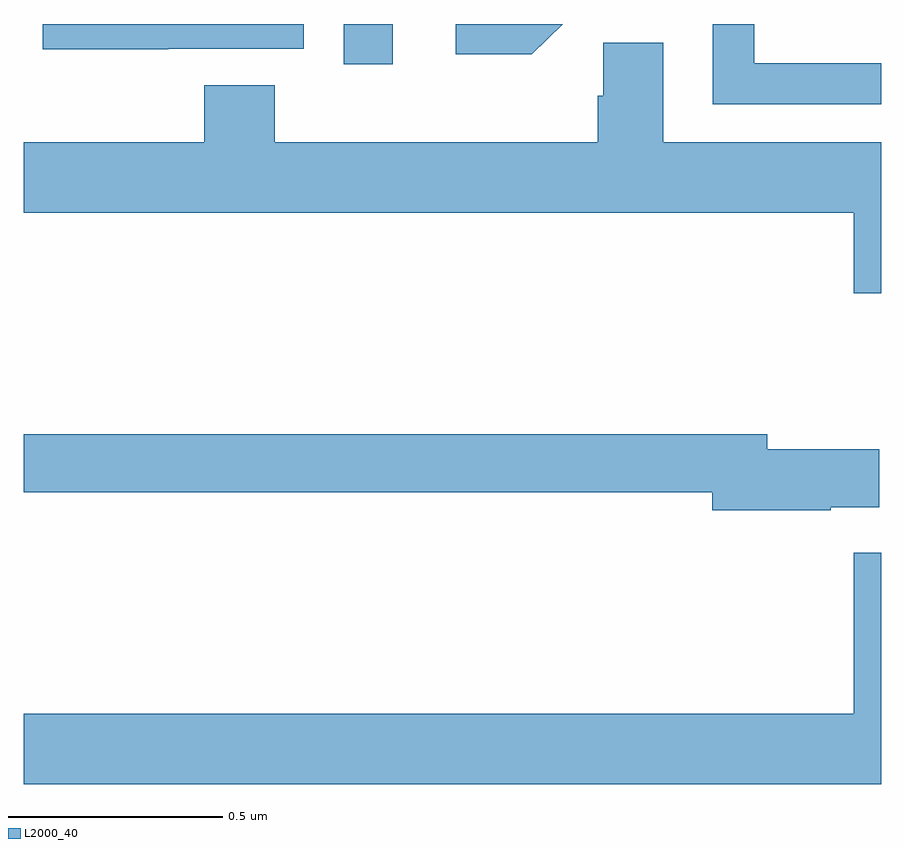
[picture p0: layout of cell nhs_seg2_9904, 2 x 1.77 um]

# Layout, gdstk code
import gdstk
lib = gdstk.Library(unit=1e-6, precision=1e-09)
def R(c, l, rs):  # rectangles x0, y0, x1, y1
    for r in rs: c.add(gdstk.rectangle(r[:2], r[2:], *l))
def P(c, l, *ps):  # polygons
    for p in ps: c.add(gdstk.Polygon(p, *l))
L2000_40 = (2000, 40)

nhs_seg2_9904 = lib.new_cell('nhs_seg2_9904')
R(nhs_seg2_9904, L2000_40, [(235.746,590.706,235.861,590.8)])
P(nhs_seg2_9904, L2000_40, [(236.257,590.8),(236.007,590.8),(236.007,590.729),(236.185,590.729)],
  [(237,590.709),(236.703,590.709),(236.703,590.8),(236.607,590.8),(236.607,590.613),(237,590.613)],
  [(235.337,590.742),(235.653,590.742),(235.653,590.8),(235.045,590.8),(235.045,590.741),(235.337,590.741)],
  [(237,590.524),(236.491,590.524),(236.491,590.756),(236.352,590.756),(236.352,590.633),(236.339,590.633),(236.339,590.524),(235.586,590.524),(235.586,590.657),(235.421,590.657),(235.421,590.524),(235,590.524),(235,590.36),(236.936,590.36),(236.936,590.172),(237,590.172)],
  [(236.882,589.673),(236.995,589.673),(236.995,589.808),(236.734,589.808),(236.734,589.844),(235,589.844),(235,589.708),(236.606,589.708),(236.606,589.666),(236.882,589.666)],
  [(237,589.567),(236.936,589.567),(236.936,589.192),(235,589.192),(235,589.028),(237,589.028)])

lib.write_gds('nhs_seg2_9904.gds')
